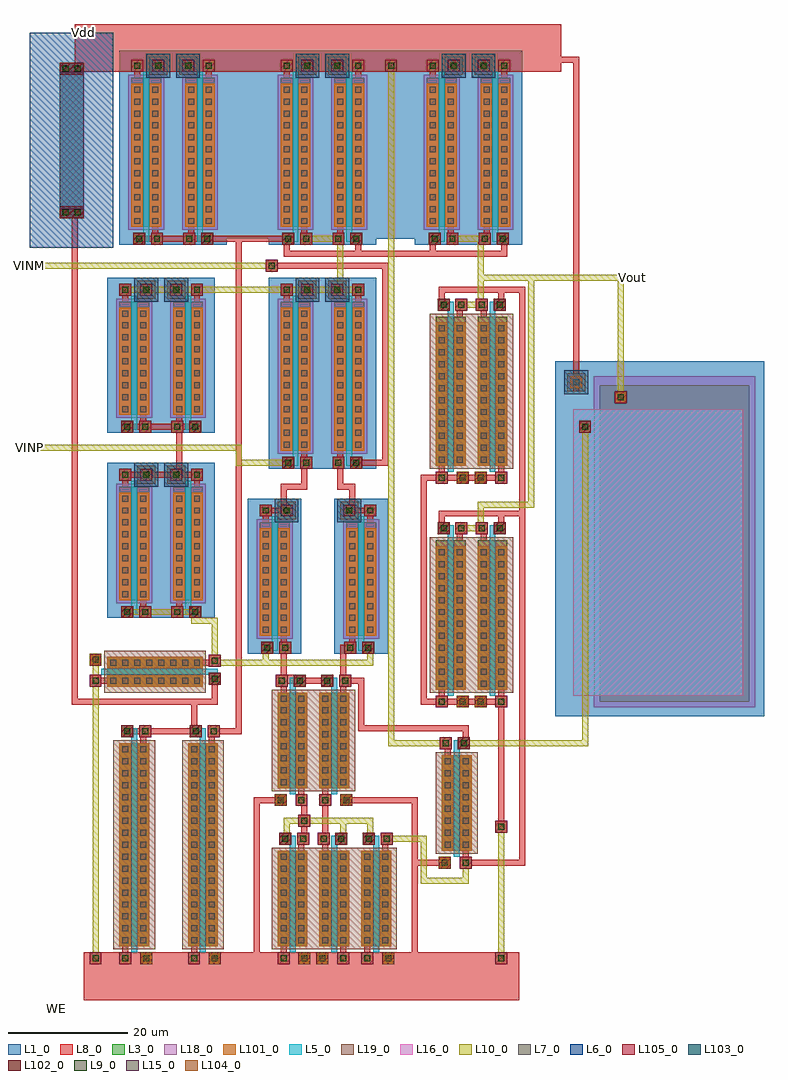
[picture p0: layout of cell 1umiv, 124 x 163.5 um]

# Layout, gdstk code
from math import pi, radians
import gdstk
lib = gdstk.Library(unit=1e-6, precision=1e-09)
def R(c, l, rs):  # rectangles x0, y0, x1, y1
    for r in rs: c.add(gdstk.rectangle(r[:2], r[2:], *l))
L1_0 = (1, 0)
L3_0 = (3, 0)
L5_0 = (5, 0)
L6_0 = (6, 0)
L7_0 = (7, 0)
L8_0 = (8, 0)
L9_0 = (9, 0)
L10_0 = (10, 0)
L15_0 = (15, 0)
L16_0 = (16, 0)
L18_0 = (18, 0)
L19_0 = (19, 0)
L101_0 = (101, 0)
L102_0 = (102, 0)
L103_0 = (103, 0)
L104_0 = (104, 0)
L105_0 = (105, 0)

dcont_2 = lib.new_cell('dcont$2')
R(dcont_2, L3_0, [(-0.5,-0.5,0.5,0.5)])
R(dcont_2, L7_0, [(-0.5,-0.5,0.5,0.5)])
R(dcont_2, L8_0, [(-1,-1,1,1)])
R(dcont_2, L101_0, [(-1,-1,1,1)])
dcont_2.add(gdstk.Label('dcont', (0,0), layer=13, texttype=0))

pcont_2 = lib.new_cell('pcont$2')
R(pcont_2, L5_0, [(-1,-1,1,1)])
R(pcont_2, L7_0, [(-0.5,-0.5,0.5,0.5)])
R(pcont_2, L8_0, [(-1,-1,1,1)])
R(pcont_2, L102_0, [(-1,-1,1,1)])
pcont_2.add(gdstk.Label('pcont', (0,0), layer=13, texttype=0))

via_2 = lib.new_cell('Via$2')
R(via_2, L8_0, [(-1,-1,1,1)])
R(via_2, L9_0, [(-0.5,-0.5,0.5,0.5)])
R(via_2, L10_0, [(-1,-1,1,1)])
R(via_2, L105_0, [(-1,-1,1,1)])
via_2.add(gdstk.Label('via', (0,0), layer=13, texttype=0))

nsubcont_2 = lib.new_cell('nsubcont$2')
R(nsubcont_2, L1_0, [(-2,-2,2,2)])
R(nsubcont_2, L19_0, [(-1.5,-1.5,1.5,1.5)])
R(nsubcont_2, L103_0, [(-2,-2,2,2)])
nsubcont_2.add(gdstk.Reference(dcont_2, (0,0)))
nsubcont_2.add(gdstk.Label('NScont', (0,0), layer=13, texttype=0))

pch = lib.new_cell('Pch')
R(pch, L1_0, [(-2,0,7,32)])
R(pch, L3_0, [(0,3,5,28)])
R(pch, L18_0, [(-0.5,2.5,5.5,28.5)])
pch.add(gdstk.FlexPath([(1,3),(1,28)], 2, ends="flush", simple_path=True, layer=8, datatype=0))  # L8_0
pch.add(gdstk.FlexPath([(4,3),(4,28)], 2, ends="flush", simple_path=True, layer=8, datatype=0))  # L8_0
pch.add(gdstk.FlexPath([(1,28),(1,30)], 1, ends="flush", simple_path=True, layer=8, datatype=0))  # L8_0
pch.add(gdstk.FlexPath([(4,0),(4,3)], 1, ends="flush", simple_path=True, layer=8, datatype=0))  # L8_0
pch.add(gdstk.FlexPath([(2.5,3),(2.5,28)], 1, ends=(1, 1), simple_path=True, layer=5, datatype=0))  # L5_0
pch.add(gdstk.FlexPath([(1,1),(2.5,1),(2.5,2)], 1, ends="flush", simple_path=True, layer=5, datatype=0))  # L5_0
pch.add(gdstk.Reference(dcont_2, (1,4)))
pch.add(gdstk.Reference(dcont_2, (1,6)))
pch.add(gdstk.Reference(dcont_2, (1,8)))
pch.add(gdstk.Reference(dcont_2, (1,10)))
pch.add(gdstk.Reference(dcont_2, (1,12)))
pch.add(gdstk.Reference(dcont_2, (1,14)))
pch.add(gdstk.Reference(dcont_2, (1,16)))
pch.add(gdstk.Reference(dcont_2, (1,18)))
pch.add(gdstk.Reference(dcont_2, (1,20)))
pch.add(gdstk.Reference(dcont_2, (1,22)))
pch.add(gdstk.Reference(dcont_2, (1,24)))
pch.add(gdstk.Reference(dcont_2, (1,26)))
pch.add(gdstk.Reference(dcont_2, (4,4)))
pch.add(gdstk.Reference(dcont_2, (4,6)))
pch.add(gdstk.Reference(dcont_2, (4,8)))
pch.add(gdstk.Reference(dcont_2, (4,10)))
pch.add(gdstk.Reference(dcont_2, (4,12)))
pch.add(gdstk.Reference(dcont_2, (4,14)))
pch.add(gdstk.Reference(dcont_2, (4,16)))
pch.add(gdstk.Reference(dcont_2, (4,18)))
pch.add(gdstk.Reference(dcont_2, (4,20)))
pch.add(gdstk.Reference(dcont_2, (4,22)))
pch.add(gdstk.Reference(dcont_2, (4,24)))
pch.add(gdstk.Reference(dcont_2, (4,26)))
pch.add(gdstk.Reference(pcont_2, (1.3,1)))
pch.add(gdstk.Reference(via_2, (1.3,1)))
pch.add(gdstk.Reference(via_2, (1,30)))
pch.add(gdstk.Reference(via_2, (4.3,1)))
pch.add(gdstk.Reference(nsubcont_2, (4.5,30)))
pch.add(gdstk.Reference(via_2, (4.5,30)))

pch_9 = lib.new_cell('Pch$9')
R(pch_9, L1_0, [(-2,0,7,26)])
R(pch_9, L3_0, [(0,3,5,22)])
R(pch_9, L18_0, [(-0.5,2.5,5.5,22.5)])
pch_9.add(gdstk.FlexPath([(1,3),(1,22)], 2, ends="flush", simple_path=True, layer=8, datatype=0))  # L8_0
pch_9.add(gdstk.FlexPath([(4,3),(4,22)], 2, ends="flush", simple_path=True, layer=8, datatype=0))  # L8_0
pch_9.add(gdstk.FlexPath([(1,22),(1,24)], 1, ends="flush", simple_path=True, layer=8, datatype=0))  # L8_0
pch_9.add(gdstk.FlexPath([(4,0),(4,3)], 1, ends="flush", simple_path=True, layer=8, datatype=0))  # L8_0
pch_9.add(gdstk.FlexPath([(2.5,3),(2.5,22)], 1, ends=(1, 1), simple_path=True, layer=5, datatype=0))  # L5_0
pch_9.add(gdstk.FlexPath([(1,1),(2.5,1),(2.5,2)], 1, ends="flush", simple_path=True, layer=5, datatype=0))  # L5_0
pch_9.add(gdstk.Reference(dcont_2, (1,4)))
pch_9.add(gdstk.Reference(dcont_2, (1,6)))
pch_9.add(gdstk.Reference(dcont_2, (1,8)))
pch_9.add(gdstk.Reference(dcont_2, (1,10)))
pch_9.add(gdstk.Reference(dcont_2, (1,12)))
pch_9.add(gdstk.Reference(dcont_2, (1,14)))
pch_9.add(gdstk.Reference(dcont_2, (1,16)))
pch_9.add(gdstk.Reference(dcont_2, (1,18)))
pch_9.add(gdstk.Reference(dcont_2, (1,20)))
pch_9.add(gdstk.Reference(dcont_2, (4,4)))
pch_9.add(gdstk.Reference(dcont_2, (4,6)))
pch_9.add(gdstk.Reference(dcont_2, (4,8)))
pch_9.add(gdstk.Reference(dcont_2, (4,10)))
pch_9.add(gdstk.Reference(dcont_2, (4,12)))
pch_9.add(gdstk.Reference(dcont_2, (4,14)))
pch_9.add(gdstk.Reference(dcont_2, (4,16)))
pch_9.add(gdstk.Reference(dcont_2, (4,18)))
pch_9.add(gdstk.Reference(dcont_2, (4,20)))
pch_9.add(gdstk.Reference(pcont_2, (1.3,1)))
pch_9.add(gdstk.Reference(via_2, (1.3,1)))
pch_9.add(gdstk.Reference(via_2, (1,24)))
pch_9.add(gdstk.Reference(via_2, (4.3,1)))
pch_9.add(gdstk.Reference(nsubcont_2, (4.5,24)))
pch_9.add(gdstk.Reference(via_2, (4.5,24)))

psubcont_1 = lib.new_cell('psubcont$1')
R(psubcont_1, L104_0, [(-1,-1,1,1)])
psubcont_1.add(gdstk.Reference(dcont_2, (0,0)))
psubcont_1.add(gdstk.Label('PScon', (0,0), layer=13, texttype=0))

nch = lib.new_cell('Nch')
R(nch, L3_0, [(0,3,5,19)])
R(nch, L19_0, [(-1,2.5,6,19.5)])
nch.add(gdstk.FlexPath([(1,3),(1,19)], 2, ends="flush", simple_path=True, layer=8, datatype=0))  # L8_0
nch.add(gdstk.FlexPath([(4,3),(4,19)], 2, ends="flush", simple_path=True, layer=8, datatype=0))  # L8_0
nch.add(gdstk.FlexPath([(1,1),(1,4)], 1, ends="flush", simple_path=True, layer=8, datatype=0))  # L8_0
nch.add(gdstk.FlexPath([(4,19),(4,22)], 1, ends="flush", simple_path=True, layer=8, datatype=0))  # L8_0
nch.add(gdstk.FlexPath([(2.5,3),(2.5,19)], 1, ends=(1, 1), simple_path=True, layer=5, datatype=0))  # L5_0
nch.add(gdstk.FlexPath([(1,21),(2.5,21),(2.5,20)], 1, ends="flush", simple_path=True, layer=5, datatype=0))  # L5_0
nch.add(gdstk.Reference(dcont_2, (1,4)))
nch.add(gdstk.Reference(dcont_2, (1,6)))
nch.add(gdstk.Reference(dcont_2, (1,8)))
nch.add(gdstk.Reference(dcont_2, (1,10)))
nch.add(gdstk.Reference(dcont_2, (1,12)))
nch.add(gdstk.Reference(dcont_2, (1,14)))
nch.add(gdstk.Reference(dcont_2, (1,16)))
nch.add(gdstk.Reference(dcont_2, (1,18)))
nch.add(gdstk.Reference(dcont_2, (4,4)))
nch.add(gdstk.Reference(dcont_2, (4,6)))
nch.add(gdstk.Reference(dcont_2, (4,8)))
nch.add(gdstk.Reference(dcont_2, (4,10)))
nch.add(gdstk.Reference(dcont_2, (4,12)))
nch.add(gdstk.Reference(dcont_2, (4,14)))
nch.add(gdstk.Reference(dcont_2, (4,16)))
nch.add(gdstk.Reference(dcont_2, (4,18)))
nch.add(gdstk.Reference(pcont_2, (1.3,21)))
nch.add(gdstk.Reference(via_2, (1.3,21)))
nch.add(gdstk.Reference(via_2, (1,1)))
nch.add(gdstk.Reference(via_2, (4.3,21)))
nch.add(gdstk.Reference(psubcont_1, (4.5,1)))
nch.add(gdstk.Reference(via_2, (4.5,1)))

nch_1 = lib.new_cell('Nch$1')
R(nch_1, L3_0, [(0,3,5,37)])
R(nch_1, L19_0, [(-1,2.5,6,37.5)])
nch_1.add(gdstk.FlexPath([(1,3),(1,37)], 2, ends="flush", simple_path=True, layer=8, datatype=0))  # L8_0
nch_1.add(gdstk.FlexPath([(4,3),(4,37)], 2, ends="flush", simple_path=True, layer=8, datatype=0))  # L8_0
nch_1.add(gdstk.FlexPath([(1,1),(1,4)], 1, ends="flush", simple_path=True, layer=8, datatype=0))  # L8_0
nch_1.add(gdstk.FlexPath([(4,37),(4,40)], 1, ends="flush", simple_path=True, layer=8, datatype=0))  # L8_0
nch_1.add(gdstk.FlexPath([(2.5,3),(2.5,37)], 1, ends=(1, 1), simple_path=True, layer=5, datatype=0))  # L5_0
nch_1.add(gdstk.FlexPath([(1,39),(2.5,39),(2.5,38)], 1, ends="flush", simple_path=True, layer=5, datatype=0))  # L5_0
nch_1.add(gdstk.Reference(dcont_2, (1,4)))
nch_1.add(gdstk.Reference(dcont_2, (1,6)))
nch_1.add(gdstk.Reference(dcont_2, (1,8)))
nch_1.add(gdstk.Reference(dcont_2, (1,10)))
nch_1.add(gdstk.Reference(dcont_2, (1,12)))
nch_1.add(gdstk.Reference(dcont_2, (1,14)))
nch_1.add(gdstk.Reference(dcont_2, (1,16)))
nch_1.add(gdstk.Reference(dcont_2, (1,18)))
nch_1.add(gdstk.Reference(dcont_2, (1,20)))
nch_1.add(gdstk.Reference(dcont_2, (1,22)))
nch_1.add(gdstk.Reference(dcont_2, (1,24)))
nch_1.add(gdstk.Reference(dcont_2, (1,26)))
nch_1.add(gdstk.Reference(dcont_2, (1,28)))
nch_1.add(gdstk.Reference(dcont_2, (1,30)))
nch_1.add(gdstk.Reference(dcont_2, (1,32)))
nch_1.add(gdstk.Reference(dcont_2, (1,34)))
nch_1.add(gdstk.Reference(dcont_2, (1,36)))
nch_1.add(gdstk.Reference(dcont_2, (4,4)))
nch_1.add(gdstk.Reference(dcont_2, (4,6)))
nch_1.add(gdstk.Reference(dcont_2, (4,8)))
nch_1.add(gdstk.Reference(dcont_2, (4,10)))
nch_1.add(gdstk.Reference(dcont_2, (4,12)))
nch_1.add(gdstk.Reference(dcont_2, (4,14)))
nch_1.add(gdstk.Reference(dcont_2, (4,16)))
nch_1.add(gdstk.Reference(dcont_2, (4,18)))
nch_1.add(gdstk.Reference(dcont_2, (4,20)))
nch_1.add(gdstk.Reference(dcont_2, (4,22)))
nch_1.add(gdstk.Reference(dcont_2, (4,24)))
nch_1.add(gdstk.Reference(dcont_2, (4,26)))
nch_1.add(gdstk.Reference(dcont_2, (4,28)))
nch_1.add(gdstk.Reference(dcont_2, (4,30)))
nch_1.add(gdstk.Reference(dcont_2, (4,32)))
nch_1.add(gdstk.Reference(dcont_2, (4,34)))
nch_1.add(gdstk.Reference(dcont_2, (4,36)))
nch_1.add(gdstk.Reference(pcont_2, (1.3,39)))
nch_1.add(gdstk.Reference(via_2, (1.3,39)))
nch_1.add(gdstk.Reference(via_2, (1,1)))
nch_1.add(gdstk.Reference(via_2, (4.3,39)))
nch_1.add(gdstk.Reference(psubcont_1, (4.5,1)))
nch_1.add(gdstk.Reference(via_2, (4.5,1)))

via = lib.new_cell('Via')
R(via, L8_0, [(-1,-1,1,1)])
R(via, L9_0, [(-0.5,-0.5,0.5,0.5)])
R(via, L10_0, [(-1,-1,1,1)])
R(via, L105_0, [(-1,-1,1,1)])
via.add(gdstk.Label('via', (0,0), layer=13, texttype=0))

nch_2 = lib.new_cell('Nch$2')
R(nch_2, L3_0, [(0,3,5,28)])
R(nch_2, L19_0, [(-1,2.5,6,28.5)])
nch_2.add(gdstk.FlexPath([(1,3),(1,28)], 2, ends="flush", simple_path=True, layer=8, datatype=0))  # L8_0
nch_2.add(gdstk.FlexPath([(4,3),(4,28)], 2, ends="flush", simple_path=True, layer=8, datatype=0))  # L8_0
nch_2.add(gdstk.FlexPath([(1,1),(1,4)], 1, ends="flush", simple_path=True, layer=8, datatype=0))  # L8_0
nch_2.add(gdstk.FlexPath([(4,28),(4,31)], 1, ends="flush", simple_path=True, layer=8, datatype=0))  # L8_0
nch_2.add(gdstk.FlexPath([(2.5,3),(2.5,28)], 1, ends=(1, 1), simple_path=True, layer=5, datatype=0))  # L5_0
nch_2.add(gdstk.FlexPath([(1,30),(2.5,30),(2.5,29)], 1, ends="flush", simple_path=True, layer=5, datatype=0))  # L5_0
nch_2.add(gdstk.Reference(dcont_2, (1,4)))
nch_2.add(gdstk.Reference(dcont_2, (1,6)))
nch_2.add(gdstk.Reference(dcont_2, (1,8)))
nch_2.add(gdstk.Reference(dcont_2, (1,10)))
nch_2.add(gdstk.Reference(dcont_2, (1,12)))
nch_2.add(gdstk.Reference(dcont_2, (1,14)))
nch_2.add(gdstk.Reference(dcont_2, (1,16)))
nch_2.add(gdstk.Reference(dcont_2, (1,18)))
nch_2.add(gdstk.Reference(dcont_2, (1,20)))
nch_2.add(gdstk.Reference(dcont_2, (1,22)))
nch_2.add(gdstk.Reference(dcont_2, (1,24)))
nch_2.add(gdstk.Reference(dcont_2, (1,26)))
nch_2.add(gdstk.Reference(dcont_2, (4,4)))
nch_2.add(gdstk.Reference(dcont_2, (4,6)))
nch_2.add(gdstk.Reference(dcont_2, (4,8)))
nch_2.add(gdstk.Reference(dcont_2, (4,10)))
nch_2.add(gdstk.Reference(dcont_2, (4,12)))
nch_2.add(gdstk.Reference(dcont_2, (4,14)))
nch_2.add(gdstk.Reference(dcont_2, (4,16)))
nch_2.add(gdstk.Reference(dcont_2, (4,18)))
nch_2.add(gdstk.Reference(dcont_2, (4,20)))
nch_2.add(gdstk.Reference(dcont_2, (4,22)))
nch_2.add(gdstk.Reference(dcont_2, (4,24)))
nch_2.add(gdstk.Reference(dcont_2, (4,26)))
nch_2.add(gdstk.Reference(pcont_2, (1.3,30)))
nch_2.add(gdstk.Reference(via_2, (1.3,30)))
nch_2.add(gdstk.Reference(via_2, (1,1)))
nch_2.add(gdstk.Reference(via_2, (4.3,30)))
nch_2.add(gdstk.Reference(psubcont_1, (4.5,1)))
nch_2.add(gdstk.Reference(via_2, (4.5,1)))

via_1 = lib.new_cell('Via$1')
R(via_1, L8_0, [(-1,-1,1,1)])
R(via_1, L9_0, [(-0.5,-0.5,0.5,0.5)])
R(via_1, L10_0, [(-1,-1,1,1)])
R(via_1, L105_0, [(-1,-1,1,1)])
via_1.add(gdstk.Label('via', (0,0), layer=13, texttype=0))

hr_poly = lib.new_cell('HR_poly')
R(hr_poly, L6_0, [(-6,-5,8,31)])
R(hr_poly, L8_0, [(-1,0,3,2), (-1,24,3,26)])
R(hr_poly, L10_0, [(-1,0,3,2), (-1,24,3,26)])
hr_poly.add(gdstk.FlexPath([(1,2),(1,24)], 4, ends="extended", simple_path=True, layer=5, datatype=0))  # L5_0
hr_poly.add(gdstk.FlexPath([(1,2),(1,24)], 4, ends=(0.5, 0.5), simple_path=True, layer=15, datatype=0))  # L15_0
hr_poly.add(gdstk.Reference(via_2, (0,1)))
hr_poly.add(gdstk.Reference(pcont_2, (0,1)))
hr_poly.add(gdstk.Reference(via_2, (2,1)))
hr_poly.add(gdstk.Reference(pcont_2, (2,1)))
hr_poly.add(gdstk.Reference(via_2, (0,25)))
hr_poly.add(gdstk.Reference(pcont_2, (0,25)))
hr_poly.add(gdstk.Reference(via_2, (2,25)))
hr_poly.add(gdstk.Reference(pcont_2, (2,25)))

c_1umlast = lib.new_cell('1umlast')
c_1umlast.add(gdstk.FlexPath([(632,-48.5),(632,-70.5)], 1, ends="flush", simple_path=True, layer=8, datatype=0))  # L8_0
c_1umlast.add(gdstk.FlexPath([(632,-20.5),(632,-17.5)], 1, ends="flush", simple_path=True, layer=8, datatype=0))  # L8_0
c_1umlast.add(gdstk.FlexPath([(622,-20.5),(622,-17.5),(636,-17.5)], 1, ends="flush", simple_path=True, layer=8, datatype=0))  # L8_0
c_1umlast.add(gdstk.FlexPath([(625,-76),(635.5,-76),(635.5,20),(622,20),(622,16.5)], 1, ends="flush", simple_path=True, layer=8, datatype=0))  # L8_0
c_1umlast.add(gdstk.FlexPath([(626,-57),(626,-53.5),(608.5,-53.5),(608.5,-45.5),(605,-45.5)], 1, ends="flush", simple_path=True, layer=8, datatype=0))  # L8_0
c_1umlast.add(gdstk.FlexPath([(632.5,-11.5),(619,-11.5),(619,-49),(632.5,-49)], 1, ends="flush", simple_path=True, layer=8, datatype=0))  # L8_0
c_1umlast.add(gdstk.FlexPath([(622.5,-76),(617,-76)], 1, ends="flush", simple_path=True, layer=8, datatype=0))  # L8_0
c_1umlast.add(gdstk.FlexPath([(606,-65.5),(617.5,-65.5),(617.5,-92)], 1, ends="flush", simple_path=True, layer=8, datatype=0))  # L8_0
c_1umlast.add(gdstk.FlexPath([(595,-65.5),(591,-65.5),(591,-93.5)], 1, ends="flush", simple_path=True, layer=8, datatype=0))  # L8_0
c_1umlast.add(gdstk.FlexPath([(562,-95),(635,-95)], 8, ends="flush", simple_path=True, layer=8, datatype=0))  # L8_0
c_1umlast.add(gdstk.FlexPath([(583,-54),(588,-54),(588,28)], 1, ends="flush", simple_path=True, layer=8, datatype=0))  # L8_0
c_1umlast.add(gdstk.FlexPath([(602.5,-64.5),(602.5,-73)], 1, ends="flush", simple_path=True, layer=8, datatype=0))  # L8_0
c_1umlast.add(gdstk.FlexPath([(599,-64.5),(599,-73)], 1, ends="flush", simple_path=True, layer=8, datatype=0))  # L8_0
c_1umlast.add(gdstk.FlexPath([(605.5,-46.5),(605.5,-40),(607.5,-40)], 1, ends="flush", simple_path=True, layer=8, datatype=0))  # L8_0
c_1umlast.add(gdstk.FlexPath([(596,-45),(598.5,-45)], 1, ends="flush", simple_path=True, layer=8, datatype=0))  # L8_0
c_1umlast.add(gdstk.FlexPath([(595.5,-39),(595.5,-46)], 1, ends="flush", simple_path=True, layer=8, datatype=0))  # L8_0
c_1umlast.add(gdstk.FlexPath([(595,-45.5),(603,-45.5)], 1, ends="flush", simple_path=True, layer=8, datatype=0))  # L8_0
c_1umlast.add(gdstk.FlexPath([(606,-17),(611,-17)], 1, ends="flush", simple_path=True, layer=8, datatype=0))  # L8_0
c_1umlast.add(gdstk.FlexPath([(593,-17),(596.5,-17)], 1, ends="flush", simple_path=True, layer=8, datatype=0))  # L8_0
c_1umlast.add(gdstk.FlexPath([(605,-8),(605,-13),(607,-13),(607,-18)], 1, ends="flush", simple_path=True, layer=8, datatype=0))  # L8_0
c_1umlast.add(gdstk.FlexPath([(595.5,-18),(595.5,-13),(599,-13),(599,-8)], 1, ends="flush", simple_path=True, layer=8, datatype=0))  # L8_0
c_1umlast.add(gdstk.FlexPath([(569,-54),(581.5,-54)], 1, ends="flush", simple_path=True, layer=8, datatype=0))  # L8_0
c_1umlast.add(gdstk.FlexPath([(584,-44.5),(584,-49),(580.5,-49),(580.5,-54.5)], 1, ends="flush", simple_path=True, layer=8, datatype=0))  # L8_0
c_1umlast.add(gdstk.FlexPath([(632,16.5),(632,20)], 1, ends="flush", simple_path=True, layer=8, datatype=0))  # L8_0
c_1umlast.add(gdstk.FlexPath([(580.5,-49),(560.5,-49),(560.5,33.5)], 1, ends="flush", simple_path=True, layer=8, datatype=0))  # L8_0
c_1umlast.add(gdstk.FlexPath([(568,-11),(578,-11),(582,-11)], 1, ends="flush", simple_path=True, layer=8, datatype=0))  # L8_0
c_1umlast.add(gdstk.FlexPath([(578,-2),(578,-11)], 1, ends="flush", simple_path=True, layer=8, datatype=0))  # L8_0
c_1umlast.add(gdstk.FlexPath([(569.5,-3),(580.5,-3)], 1, ends="flush", simple_path=True, layer=8, datatype=0))  # L8_0
c_1umlast.add(gdstk.FlexPath([(571.5,28.5),(597,28.5)], 1, ends="flush", simple_path=True, layer=8, datatype=0))  # L8_0
c_1umlast.add(gdstk.FlexPath([(607,-9),(612.5,-9),(612.5,24),(592.5,24)], 1, ends="flush", simple_path=True, layer=8, datatype=0))  # L8_0
c_1umlast.add(gdstk.FlexPath([(560.5,60.5),(642,60.5)], 8, ends="flush", simple_path=True, layer=8, datatype=0))  # L8_0
c_1umlast.add(gdstk.FlexPath([(608,29.5),(608,26)], 1, ends="flush", simple_path=True, layer=8, datatype=0))  # L8_0
c_1umlast.add(gdstk.FlexPath([(620.5,29.5),(620.5,26)], 1, ends="flush", simple_path=True, layer=8, datatype=0))  # L8_0
c_1umlast.add(gdstk.FlexPath([(596,29.5),(596,26),(632.5,26),(632.5,29.5)], 1, ends="flush", simple_path=True, layer=8, datatype=0))  # L8_0
c_1umlast.add(gdstk.FlexPath([(632,-69),(632,-93)], 1, ends="flush", simple_path=True, layer=10, datatype=0))  # L10_0
c_1umlast.add(gdstk.FlexPath([(637,22),(637,-16),(628.5,-16),(628.5,-20.5)], 1, ends="flush", simple_path=True, layer=10, datatype=0))  # L10_0
c_1umlast.add(gdstk.FlexPath([(624.5,-20),(629,-20)], 1, ends="flush", simple_path=True, layer=10, datatype=0))  # L10_0
c_1umlast.add(gdstk.FlexPath([(625,-56),(639,-56)], 1, ends="flush", simple_path=True, layer=10, datatype=0))  # L10_0
c_1umlast.add(gdstk.FlexPath([(613,-72),(619,-72),(619,-79),(626,-79),(626,-75)], 1, ends="flush", simple_path=True, layer=10, datatype=0))  # L10_0
c_1umlast.add(gdstk.FlexPath([(605.5,-73),(605.5,-69)], 1, ends="flush", simple_path=True, layer=10, datatype=0))  # L10_0
c_1umlast.add(gdstk.FlexPath([(596,-73),(596,-69),(610,-69),(610,-73)], 1, ends="flush", simple_path=True, layer=10, datatype=0))  # L10_0
c_1umlast.add(gdstk.FlexPath([(592.5,-39),(592.5,-43)], 1, ends="flush", simple_path=True, layer=10, datatype=0))  # L10_0
c_1umlast.add(gdstk.FlexPath([(583,-42.5),(610,-42.5),(610,-39)], 1, ends="flush", simple_path=True, layer=10, datatype=0))  # L10_0
c_1umlast.add(gdstk.FlexPath([(623.5,-56),(613.5,-56),(613.5,58)], 1, ends="flush", simple_path=True, layer=10, datatype=0))  # L10_0
c_1umlast.add(gdstk.FlexPath([(584,-43),(584,-35.5),(580,-35.5)], 1, ends="flush", simple_path=True, layer=10, datatype=0))  # L10_0
c_1umlast.add(gdstk.FlexPath([(564,-41.5),(564,-92.5)], 1, ends="flush", simple_path=True, layer=10, datatype=0))  # L10_0
c_1umlast.add(gdstk.FlexPath([(569,-34),(580.5,-34)], 1, ends="flush", simple_path=True, layer=10, datatype=0))  # L10_0
c_1umlast.add(gdstk.FlexPath([(609,20),(568,20)], 1, ends="flush", simple_path=True, layer=10, datatype=0))  # L10_0
c_1umlast.add(gdstk.FlexPath([(597,-9),(588,-9),(588,-6.5),(552,-6.5)], 1, ends="flush", simple_path=True, layer=10, datatype=0))  # L10_0
c_1umlast.add(gdstk.FlexPath([(594.5,24),(552.5,24)], 1, ends="flush", simple_path=True, layer=10, datatype=0))  # L10_0
c_1umlast.add(gdstk.FlexPath([(628.5,22),(640,22)], 1, ends="flush", simple_path=True, layer=10, datatype=0))  # L10_0
c_1umlast.add(gdstk.FlexPath([(628.5,29),(628.5,17)], 1, ends="flush", simple_path=True, layer=10, datatype=0))  # L10_0
c_1umlast.add(gdstk.FlexPath([(623,28.5),(630,28.5)], 1, ends="flush", simple_path=True, layer=10, datatype=0))  # L10_0
c_1umlast.add(gdstk.FlexPath([(624.5,17.5),(629,17.5)], 1, ends="flush", simple_path=True, layer=10, datatype=0))  # L10_0
c_1umlast.add(gdstk.FlexPath([(605,29.5),(605,19)], 1, ends="flush", simple_path=True, layer=10, datatype=0))  # L10_0
c_1umlast.add(gdstk.FlexPath([(598.5,28.5),(605.5,28.5)], 1, ends="flush", simple_path=True, layer=10, datatype=0))  # L10_0
c_1umlast.add(gdstk.Reference(pch, (570,27.5)))
c_1umlast.add(gdstk.Reference(pch, (584,27.5), rotation=pi, x_reflection=True))
c_1umlast.add(gdstk.Reference(pch_9, (568,-4)))
c_1umlast.add(gdstk.Reference(pch_9, (582,-4), rotation=pi, x_reflection=True))
c_1umlast.add(gdstk.Reference(pch_9, (568,-35)))
c_1umlast.add(gdstk.Reference(pch_9, (582,-35), rotation=pi, x_reflection=True))
c_1umlast.add(gdstk.Reference(nch, (563,-46.5), rotation=pi/2, x_reflection=True))
c_1umlast.add(gdstk.Reference(nch_1, (568,-93)))
c_1umlast.add(gdstk.Reference(nch_1, (579.5,-93)))
c_1umlast.add(gdstk.Reference(via, (564,-92)))
c_1umlast.add(gdstk.Reference(via, (632,-70)))
c_1umlast.add(gdstk.Reference(via, (632,-92)))
c_1umlast.add(gdstk.Reference(via, (593.5,24)))
c_1umlast.add(gdstk.Reference(via, (613.5,57.5)))
c_1umlast.add(gdstk.Reference(nch_2, (633,-50), rotation=pi, x_reflection=True))
c_1umlast.add(gdstk.Reference(nch_2, (621,-50)))
c_1umlast.add(gdstk.Reference(nch_2, (633,-12.5), rotation=pi, x_reflection=True))
c_1umlast.add(gdstk.Reference(nch_2, (621,-12.5)))
c_1umlast.add(gdstk.Reference(nch, (627,-77), rotation=pi, x_reflection=True))
c_1umlast.add(gdstk.Reference(nch, (606.5,-93), rotation=pi, x_reflection=True))
c_1umlast.add(gdstk.Reference(nch, (594.5,-93)))
c_1umlast.add(gdstk.Reference(nch, (608.5,-93)))
c_1umlast.add(gdstk.Reference(nch, (601.5,-66.5)))
c_1umlast.add(gdstk.Reference(nch, (599.5,-66.5), rotation=pi, x_reflection=True))
c_1umlast.add(gdstk.Reference(pch_9, (611,-41), rotation=pi, x_reflection=True))
c_1umlast.add(gdstk.Reference(pch_9, (591.5,-41)))
c_1umlast.add(gdstk.Reference(pch, (609,-10), rotation=pi, x_reflection=True))
c_1umlast.add(gdstk.Reference(pch, (595,-10)))
c_1umlast.add(gdstk.Reference(pch, (633.5,27.5), rotation=pi, x_reflection=True))
c_1umlast.add(gdstk.Reference(pch, (619.5,27.5)))
c_1umlast.add(gdstk.Reference(pch, (609,27.5), rotation=pi, x_reflection=True))
c_1umlast.add(gdstk.Reference(pch, (595,27.5)))
c_1umlast.add(gdstk.Reference(via_1, (599,-69)))
c_1umlast.add(gdstk.Reference(hr_poly, (561,58), rotation=pi))

pcont = lib.new_cell('pcont')
R(pcont, L5_0, [(-1,-1,1,1)])
R(pcont, L7_0, [(-0.5,-0.5,0.5,0.5)])
R(pcont, L8_0, [(-1,-1,1,1)])
R(pcont, L102_0, [(-1,-1,1,1)])
pcont.add(gdstk.Label('pcont', (0,0), layer=13, texttype=0))

dcont = lib.new_cell('dcont')
R(dcont, L3_0, [(-0.5,-0.5,0.5,0.5)])
R(dcont, L7_0, [(-0.5,-0.5,0.5,0.5)])
R(dcont, L8_0, [(-1,-1,1,1)])
R(dcont, L101_0, [(-1,-1,1,1)])
dcont.add(gdstk.Label('dcont', (0,0), layer=13, texttype=0))

nsubcont = lib.new_cell('nsubcont')
R(nsubcont, L1_0, [(-2,-2,2,2)])
R(nsubcont, L19_0, [(-1.5,-1.5,1.5,1.5)])
R(nsubcont, L103_0, [(-2,-2,2,2)])
nsubcont.add(gdstk.Reference(dcont, (0,0)))
nsubcont.add(gdstk.Label('NScont', (0,0), layer=13, texttype=0))

c_3p = lib.new_cell('3p')
R(c_3p, L1_0, [(-7,-40.5,28,19)])
R(c_3p, L3_0, [(0.5,-38,25.5,15)])
R(c_3p, L5_0, [(-4,-37,24.5,11)])
R(c_3p, L18_0, [(-0.5,-39,26.5,16.5)])
c_3p.add(gdstk.Reference(pcont, (-2,8)))
c_3p.add(gdstk.Reference(nsubcont, (-3.5,15.5)))
c_3p.add(gdstk.Reference(dcont, (4,13)))

c_1umiv = lib.new_cell('1umiv')
R(c_1umiv, L1_0, [(10,124.5,77.5,156)])
R(c_1umiv, L16_0, [(86,48,114.5,96)])
c_1umiv.add(gdstk.FlexPath([(86.5,99),(86.5,154.5),(83,154.5)], 1, ends="flush", simple_path=True, layer=8, datatype=0))  # L8_0
c_1umiv.add(gdstk.FlexPath([(79.5,40),(88,40),(88,94)], 1, ends="flush", simple_path=True, layer=10, datatype=0))  # L10_0
c_1umiv.add(gdstk.FlexPath([(94,118),(96.5,118)], 1, ends="flush", simple_path=True, layer=10, datatype=0))  # L10_0
c_1umiv.add(gdstk.FlexPath([(94,97),(94,118),(80,118)], 1, ends="flush", simple_path=True, layer=10, datatype=0))  # L10_0
c_1umiv.add(gdstk.Reference(c_1umlast, (-558,96)))
c_1umiv.add(gdstk.Reference(c_3p, (90,85)))
c_1umiv.add(gdstk.Reference(via_1, (88,93)))
c_1umiv.add(gdstk.Reference(via_1, (94,98)))
c_1umiv.add(gdstk.Label('Vdd', (4,159), layer=8, texttype=0))
c_1umiv.add(gdstk.Label('VINM', (-5,120), layer=10, texttype=0))
c_1umiv.add(gdstk.Label('VINP', (-5,89.5), layer=10, texttype=0))
c_1umiv.add(gdstk.Label('Vout', (96,118), layer=10, texttype=0))
c_1umiv.add(gdstk.Label('WE', (-0.5,-4.5), layer=10, texttype=0))
c_1umiv.add(gdstk.Label('Vdd_half', (-5,-5), layer=10, texttype=0))

lib.write_gds('1umiv.gds')
